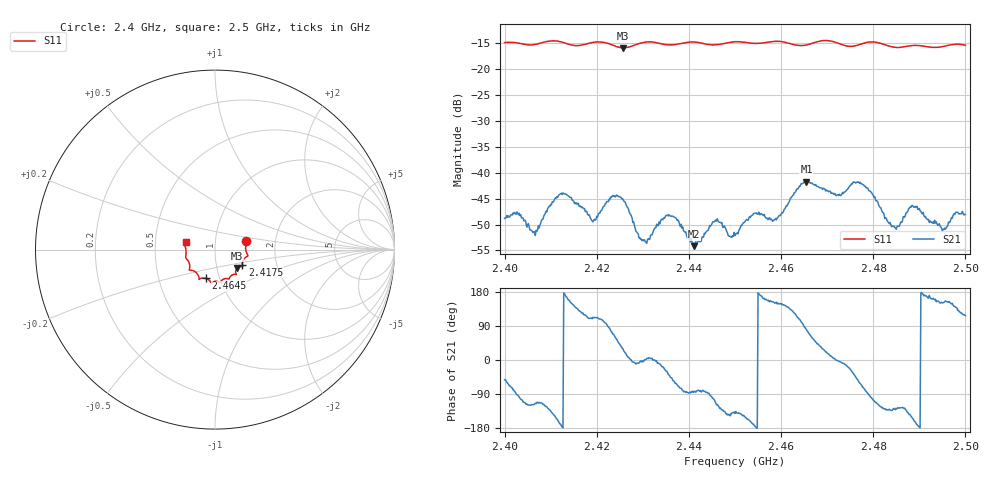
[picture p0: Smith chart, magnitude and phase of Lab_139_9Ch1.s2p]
# Hz S RI R 50
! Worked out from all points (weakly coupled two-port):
!   601 points, 2.4 GHz to 2.5 GHz, reference 50 ohm
!   highest |S21| = -41.74 dB at 2.4655 GHz (marker M1); lowest = -54.2 dB at 2.441 GHz (marker M2)
!   lowest |S11| = -15.9 dB at 2.4257 GHz (marker M3), VSWR 1.38, Z = 62.5 - j13.1 ohm
!   |S11| at or under -10 dB: start of sweep to end of sweep
!   S12 and S22 are empty: the file has one direction only
!   S11 on the Smith chart (normalised r, x): 2.4 GHz: 1.41, +0.14; 2.4175 GHz: 1.34, -0.23; 2.4645 GHz: 0.86, -0.28; 2.5 GHz: 0.72, +0.06
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2.4e9  0.173 0.0486  0.00223 -0.00286  0 0  0 0
2.4065e9  0.1719 -0.00431  -0.00118 -0.00242  0 0  0 0
2.412167e9  0.179 -0.0381  -0.00618 -0.00114  0 0  0 0
2.416667e9  0.1526 -0.0743  -0.00264 0.00377  0 0  0 0
2.4175e9  0.1518 -0.0835  -0.00201 0.0037  0 0  0 0
2.425667e9  0.1229 -0.1024  0.00483 0.00279  0 0  0 0
2.429667e9  0.1167 -0.1351  0.00228 -0.000195  0 0  0 0
2.433333e9  0.1127 -0.1372  0.00305 -0.000416  0 0  0 0
2.436667e9  0.0893 -0.1463  0.00214 -0.0031  0 0  0 0
2.441e9  0.0776 -0.1648  0.000156 -0.00195  0 0  0 0
2.445667e9  0.0504 -0.1635  -0.00116 -0.00322  0 0  0 0
2.45e9  0.0288 -0.1809  -0.00192 -0.00156  0 0  0 0
2.454167e9  0.00889 -0.1764  -0.00403 -0.000531  0 0  0 0
2.458833e9  -0.0219 -0.1836  -0.00318 0.00173  0 0  0 0
2.4645e9  -0.0517 -0.1601  -0.00119 0.00774  0 0  0 0
2.4655e9  -0.0635 -0.1582  0.0014 0.00807  0 0  0 0
2.466667e9  -0.0757 -0.1595  0.004 0.00689  0 0  0 0
2.477333e9  -0.1298 -0.1155  0.00339 -0.00707  0 0  0 0
2.483333e9  -0.1407 -0.0898  -0.00221 -0.00246  0 0  0 0
2.488667e9  -0.1621 -0.0471  -0.00432 -0.00197  0 0  0 0
2.495333e9  -0.1648 0.0134  -0.00251 0.00133  0 0  0 0
2.5e9  -0.1639 0.043  -0.0018 0.00352  0 0  0 0
